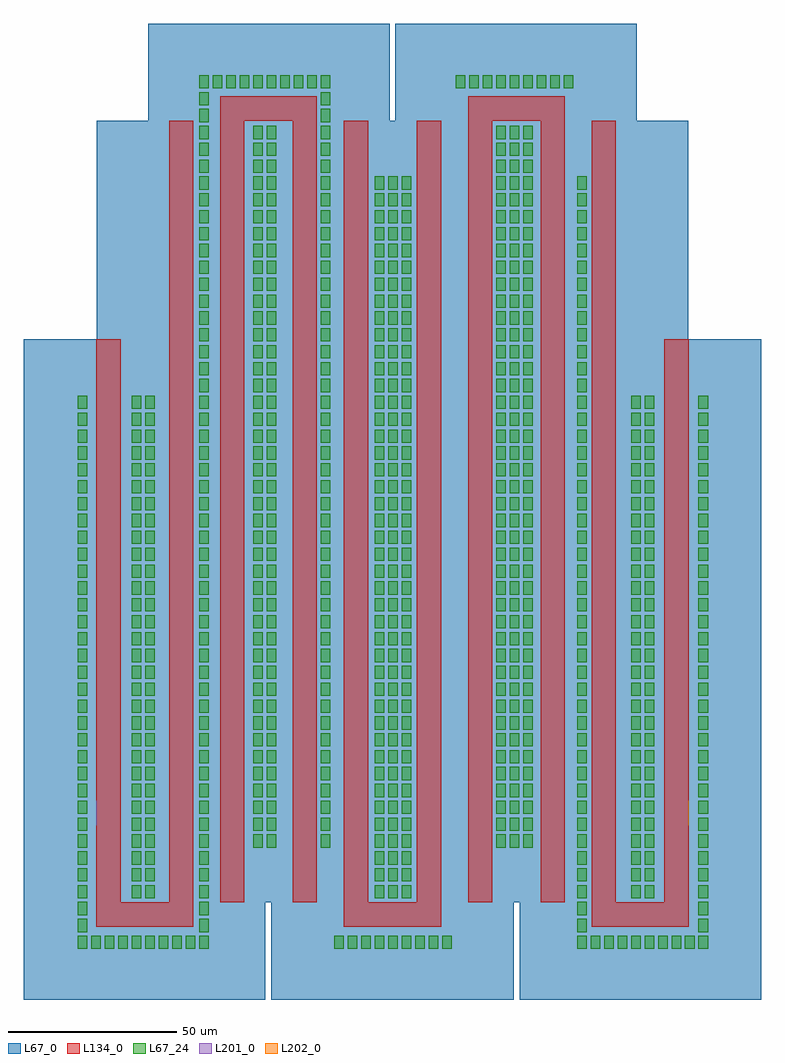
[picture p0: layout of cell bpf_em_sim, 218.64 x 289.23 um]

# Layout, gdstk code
from math import pi, radians
import gdstk
lib = gdstk.Library(unit=1e-6, precision=5e-09)
def R(c, l, rs):  # rectangles x0, y0, x1, y1
    for r in rs: c.add(gdstk.rectangle(r[:2], r[2:], *l))
L67_0 = (67, 0)
L67_24 = (67, 24)
L134_0 = (134, 0)
L201_0 = (201, 0)
L202_0 = (202, 0)

straight_gdsfactorypcomp = lib.new_cell('straight_gdsfactorypcomponentspwaveguidespstraight_L0_N_314f84cf')

c_straight_gdsfactorypcomp = lib.new_cell('straight_gdsfactorypcomponentspwaveguidespstraight_L0_N_18075a77')

tline_l0_scstopmetal2_ro = lib.new_cell('tline_L0_SCStopmetal2_routing_GCSmetal5_routing_WNone_Z50_N2')
tline_l0_scstopmetal2_ro.add(gdstk.Reference(straight_gdsfactorypcomp, (0,0)))
tline_l0_scstopmetal2_ro.add(gdstk.Reference(c_straight_gdsfactorypcomp, (0,0)))

c_straight_gdsfactorypcomp_ = lib.new_cell('straight_gdsfactorypcomponentspwaveguidespstraight_L166_27507053')
R(c_straight_gdsfactorypcomp_, L134_0, [(0,-3.6,166.83,3.6)])

c_straight_gdsfactorypcomp__ = lib.new_cell('straight_gdsfactorypcomponentspwaveguidespstraight_L166_8440dd5a')
R(c_straight_gdsfactorypcomp__, L67_0, [(0,-25.2,166.83,25.2)])

tline_l166p83_scstopmeta = lib.new_cell('tline_L166p83_SCStopmetal2_routing_GCSmetal5_routing_WN_d4e773c3')
tline_l166p83_scstopmeta.add(gdstk.Reference(c_straight_gdsfactorypcomp_, (0,0)))
tline_l166p83_scstopmeta.add(gdstk.Reference(c_straight_gdsfactorypcomp__, (0,0)))

coupler_tline_z55p445032 = lib.new_cell('coupler_tline_Z55p445032974130925_Z45p5367147301159_L23_81a19ac5')
R(coupler_tline_z55p445032, L67_0, [(0,-32.52,231.63,32.52)])
R(coupler_tline_z55p445032, L134_0, [(0,-11.13,231.63,-4), (0,4,231.63,11.13)])

rectangle_gdsfactorypcom = lib.new_cell('rectangle_gdsfactorypcomponentspshapesprectangle_S7p2_7_2a688ad3')
R(rectangle_gdsfactorypcom, L134_0, [(0,0,7.2,7.2)])

unnamed_16 = lib.new_cell('Unnamed_16')
R(unnamed_16, L67_0, [(0,0,50.4,50.4)])

c__corner_rectangle_w7p2_l = lib.new_cell('_corner_rectangle_W7p2_L7p2_SCStopmetal2_routing_GCSmet_6323a6bc')
c__corner_rectangle_w7p2_l.add(gdstk.Reference(rectangle_gdsfactorypcom, (0,0)))
c__corner_rectangle_w7p2_l.add(gdstk.Reference(unnamed_16, (-21.6,-21.6)))

c_straight_gdsfactorypcomp___ = lib.new_cell('straight_gdsfactorypcomponentspwaveguidespstraight_L14p_fff0b771')
R(c_straight_gdsfactorypcomp___, L134_0, [(0,-3.6,14.33,3.6)])

c_straight_gdsfactorypcomp____ = lib.new_cell('straight_gdsfactorypcomponentspwaveguidespstraight_L14p_afb3fce0')
R(c_straight_gdsfactorypcomp____, L67_0, [(0,-25.2,14.33,25.2)])

tline_l14p33_scstopmetal = lib.new_cell('tline_L14p33_SCStopmetal2_routing_GCSmetal5_routing_WNone_Z50_N2')
tline_l14p33_scstopmetal.add(gdstk.Reference(c_straight_gdsfactorypcomp___, (0,0)))
tline_l14p33_scstopmetal.add(gdstk.Reference(c_straight_gdsfactorypcomp____, (0,0)))

c_rectangle_gdsfactorypcom = lib.new_cell('rectangle_gdsfactorypcomponentspshapesprectangle_S7p13__ae953bf7')
R(c_rectangle_gdsfactorypcom, L134_0, [(0,0,7.13,7.2)])

unnamed_23 = lib.new_cell('Unnamed_23')
R(unnamed_23, L67_0, [(0,0,49.91,50.4)])

c__corner_rectangle_w7p2_l_ = lib.new_cell('_corner_rectangle_W7p2_L7p13_SCStopmetal2_routing_GCSme_0a65c955')
c__corner_rectangle_w7p2_l_.add(gdstk.Reference(c_rectangle_gdsfactorypcom, (0,0)))
c__corner_rectangle_w7p2_l_.add(gdstk.Reference(unnamed_23, (-21.39,-21.6)))

coupler_tline_z50p349509 = lib.new_cell('coupler_tline_Z50p349509800930605_Z49p65530934184336_L2_123dc688')
R(coupler_tline_z50p349509, L67_0, [(0,-32.8,231.63,32.8)])
R(coupler_tline_z50p349509, L134_0, [(0,-11.2,231.63,-4), (0,4,231.63,11.2)])

c_straight_gdsfactorypcomp_____ = lib.new_cell('straight_gdsfactorypcomponentspwaveguidespstraight_L14p_055b01f6')
R(c_straight_gdsfactorypcomp_____, L134_0, [(0,-3.6,14.4,3.6)])

c_straight_gdsfactorypcomp______ = lib.new_cell('straight_gdsfactorypcomponentspwaveguidespstraight_L14p_2750b8ef')
R(c_straight_gdsfactorypcomp______, L67_0, [(0,-25.2,14.4,25.2)])

tline_l14p4_scstopmetal2 = lib.new_cell('tline_L14p4_SCStopmetal2_routing_GCSmetal5_routing_WNone_Z50_N2')
tline_l14p4_scstopmetal2.add(gdstk.Reference(c_straight_gdsfactorypcomp_____, (0,0)))
tline_l14p4_scstopmetal2.add(gdstk.Reference(c_straight_gdsfactorypcomp______, (0,0)))

c__slit_ground = lib.new_cell('_slit_ground')
R(c__slit_ground, L67_24, [(1.1,1.1,4,5)])

hairpin_coupled_line_ban = lib.new_cell('hairpin_coupled_line_bandpass_filter_O3_F160000000000_B_734e666b')
hairpin_coupled_line_ban.add(gdstk.Reference(tline_l0_scstopmetal2_ro, (0,0)))
hairpin_coupled_line_ban.add(gdstk.Reference(tline_l166p83_scstopmeta, (3.6,140.395), rotation=3*pi/2))
hairpin_coupled_line_ban.add(gdstk.Reference(coupler_tline_z55p445032, (32.66,205.195), rotation=3*pi/2))
hairpin_coupled_line_ban.add(gdstk.Reference(c__corner_rectangle_w7p2_l, (0,-33.635)))
hairpin_coupled_line_ban.add(gdstk.Reference(tline_l14p33_scstopmetal, (7.2,-30.035)))
hairpin_coupled_line_ban.add(gdstk.Reference(c__corner_rectangle_w7p2_l_, (21.53,-33.635)))
hairpin_coupled_line_ban.add(gdstk.Reference(coupler_tline_z50p349509, (69.32,205.195), rotation=3*pi/2))
hairpin_coupled_line_ban.add(gdstk.Reference(c__corner_rectangle_w7p2_l_, (36.66,205.195)))
hairpin_coupled_line_ban.add(gdstk.Reference(tline_l14p33_scstopmetal, (43.79,208.795)))
hairpin_coupled_line_ban.add(gdstk.Reference(c__corner_rectangle_w7p2_l, (58.12,205.195)))
hairpin_coupled_line_ban.add(gdstk.Reference(coupler_tline_z50p349509, (106.12,205.195), rotation=3*pi/2))
hairpin_coupled_line_ban.add(gdstk.Reference(c__corner_rectangle_w7p2_l, (73.32,-33.635)))
hairpin_coupled_line_ban.add(gdstk.Reference(tline_l14p4_scstopmetal2, (80.52,-30.035)))
hairpin_coupled_line_ban.add(gdstk.Reference(c__corner_rectangle_w7p2_l, (94.92,-33.635)))
hairpin_coupled_line_ban.add(gdstk.Reference(coupler_tline_z55p445032, (142.78,205.195), rotation=3*pi/2))
hairpin_coupled_line_ban.add(gdstk.Reference(c__corner_rectangle_w7p2_l, (110.12,205.195)))
hairpin_coupled_line_ban.add(gdstk.Reference(tline_l14p33_scstopmetal, (117.32,208.795)))
hairpin_coupled_line_ban.add(gdstk.Reference(c__corner_rectangle_w7p2_l_, (131.65,205.195)))
hairpin_coupled_line_ban.add(gdstk.Reference(c__corner_rectangle_w7p2_l_, (146.78,-33.635)))
hairpin_coupled_line_ban.add(gdstk.Reference(tline_l14p33_scstopmetal, (153.91,-30.035)))
hairpin_coupled_line_ban.add(gdstk.Reference(c__corner_rectangle_w7p2_l, (168.24,-33.635)))
hairpin_coupled_line_ban.add(gdstk.Reference(tline_l166p83_scstopmeta, (171.84,140.395), rotation=3*pi/2, x_reflection=True))
hairpin_coupled_line_ban.add(gdstk.Reference(tline_l0_scstopmetal2_ro, (175.44,0)))
r = gdstk.Reference(c__slit_ground, (9.3,-26.335)); r.repetition = gdstk.Repetition(2, 30, v1=(4,0), v2=(0,5)); hairpin_coupled_line_ban.add(r)
r = gdstk.Reference(c__slit_ground, (81.3,-26.335)); r.repetition = gdstk.Repetition(3, 43, v1=(4,0), v2=(0,5)); hairpin_coupled_line_ban.add(r)
r = gdstk.Reference(c__slit_ground, (157.3,-26.335)); r.repetition = gdstk.Repetition(2, 30, v1=(4,0), v2=(0,5)); hairpin_coupled_line_ban.add(r)
r = gdstk.Reference(c__slit_ground, (45.3,-11.335)); r.repetition = gdstk.Repetition(2, 43, v1=(4,0), v2=(0,5)); hairpin_coupled_line_ban.add(r)
r = gdstk.Reference(c__slit_ground, (117.3,-11.335)); r.repetition = gdstk.Repetition(3, 43, v1=(4,0), v2=(0,5)); hairpin_coupled_line_ban.add(r)
r = gdstk.Reference(c__slit_ground, (-6.7,-41.335)); r.repetition = gdstk.Repetition(1, 33, v1=(0,0), v2=(0,5)); hairpin_coupled_line_ban.add(r)
r = gdstk.Reference(c__slit_ground, (-2.7,-41.335)); r.repetition = gdstk.Repetition(9, 1, v1=(4,0), v2=(0,0)); hairpin_coupled_line_ban.add(r)
r = gdstk.Reference(c__slit_ground, (29.3,-36.335)); r.repetition = gdstk.Repetition(1, 51, v1=(0,0), v2=(0,5)); hairpin_coupled_line_ban.add(r)
r = gdstk.Reference(c__slit_ground, (33.3,213.665)); r.repetition = gdstk.Repetition(9, 1, v1=(4,0), v2=(0,0)); hairpin_coupled_line_ban.add(r)
r = gdstk.Reference(c__slit_ground, (65.3,-11.335)); r.repetition = gdstk.Repetition(1, 45, v1=(0,0), v2=(0,5)); hairpin_coupled_line_ban.add(r)
r = gdstk.Reference(c__slit_ground, (69.3,-41.335)); r.repetition = gdstk.Repetition(9, 1, v1=(4,0), v2=(0,0)); hairpin_coupled_line_ban.add(r)
r = gdstk.Reference(c__slit_ground, (105.3,213.665)); r.repetition = gdstk.Repetition(9, 1, v1=(4,0), v2=(0,0)); hairpin_coupled_line_ban.add(r)
r = gdstk.Reference(c__slit_ground, (141.3,-41.335)); r.repetition = gdstk.Repetition(1, 46, v1=(0,0), v2=(0,5)); hairpin_coupled_line_ban.add(r)
r = gdstk.Reference(c__slit_ground, (145.3,-41.335)); r.repetition = gdstk.Repetition(9, 1, v1=(4,0), v2=(0,0)); hairpin_coupled_line_ban.add(r)
r = gdstk.Reference(c__slit_ground, (177.3,-36.335)); r.repetition = gdstk.Repetition(1, 32, v1=(0,0), v2=(0,5)); hairpin_coupled_line_ban.add(r)

c_rectangle_gdsfactorypcom_ = lib.new_cell('rectangle_gdsfactorypcomponentspshapesprectangle_S0p1_7_a4c304ac')
R(c_rectangle_gdsfactorypcom_, L201_0, [(0,0,0.1,7.2)])

c_rectangle_gdsfactorypcom__ = lib.new_cell('rectangle_gdsfactorypcomponentspshapesprectangle_S0p1_7_f59edcc8')
R(c_rectangle_gdsfactorypcom__, L202_0, [(0,0,0.1,7.2)])

bpf_em_sim = lib.new_cell('bpf_em_sim')
bpf_em_sim.add(gdstk.Reference(hairpin_coupled_line_ban, (0,0)))
bpf_em_sim.add(gdstk.Reference(c_rectangle_gdsfactorypcom_, (0,-3.6)))
bpf_em_sim.add(gdstk.Reference(c_rectangle_gdsfactorypcom__, (175.34,-3.6)))

lib.write_gds('bpf_em_sim.gds')
